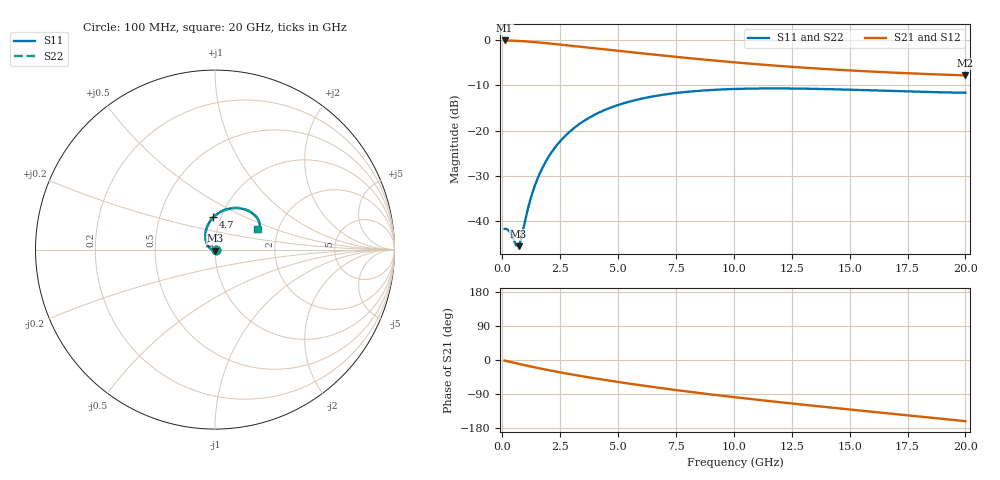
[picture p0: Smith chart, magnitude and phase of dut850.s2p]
! Touchstone file exported from HFSS 2024.1.0
!  File:  C:/UserFiles/LocalFiles/RDL_TSV_Batchsim/temp_RDL_TSV_850_1779922887.aedt
!  Generated:  07:18:47 AM May 28, 2026
!  Design:  RDL_TSV
!  Project:  temp_RDL_TSV_850_1779922887
!  Setup:  Setup1
!  Solution:  Sweep
! Variables:
!  dtsv = 7.11um
!  hbump = 3um
!  htsv = 90.55um
!  ldown = 244.33um
!  lrdl = 339.69um
!  p = 40
!  p1 = 55.11um
!  rhole = 10um
!  subl = 2091.75um
!  t = 450um
!  tdown = 3.31um
!  trdl = 4.93um
!  viad = 10um
!  wdown = 25.53um
!  wrdl = 28.84um
!  xbump = 18um
# GHz S MA R 50.000000
! Terminal data exported
! Port[1] = TM1_1_T1
! Port[2] = TM1_4_T1
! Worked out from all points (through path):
!   200 points, 100 MHz to 20 GHz, reference 50 ohm
!   highest |S21| = -0.08 dB at 100 MHz (marker M1); lowest = -7.8 dB at 20 GHz (marker M2)
!   group delay of S21, straight-line fit = 21.1 ps
!   lowest |S11| = -45.5 dB at 700 MHz (marker M3), VSWR 1.01, Z = 49.9 - j0.525 ohm
!   |S11| at or under -10 dB: start of sweep to end of sweep
!   |S22| runs from -45.5 to -10.6 dB; largest |S21 - S12| = 1.9e-14
!   S11 on the Smith chart (normalised r, x): 100 MHz: 1.02, -0.00; 4.7 GHz: 0.92, +0.34; 20 GHz: 1.56, +0.38
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0.1  0.008224 -4.2  0.9913 -1.5  0.9913 -1.5  0.008223 -4.2
! Gamma 0 0 0 0
! Port Impedance 50 0 50 0
0.3  0.00776 -20.2  0.9886 -4.4  0.9886 -4.4  0.007755 -20.3
0.6  0.005421 -68.9  0.9822 -8.6  0.9822 -8.6  0.005409 -69.1
0.7  0.005294 -96.7  0.9793 -10.0  0.9793 -10.0  0.00529 -97.0
0.8  0.006179 -124.4  0.9762 -11.4  0.9762 -11.4  0.00619 -124.8
1.1  0.01355 -170.6  0.9649 -15.5  0.9649 -15.5  0.01361 -170.8
1.3  0.02056 174.9  0.956 -18.1  0.956 -18.1  0.02065 174.8
1.5  0.02855 164.7  0.9464 -20.7  0.9464 -20.7  0.02867 164.6
1.8  0.04187 152.9  0.931 -24.4  0.931 -24.4  0.04204 152.9
2.1  0.05627 143.5  0.9147 -28.0  0.9147 -28.0  0.0565 143.5
2.5  0.0764 132.8  0.8926 -32.7  0.8926 -32.7  0.0767 132.8
3  0.1019 121.6  0.8648 -38.2  0.8648 -38.2  0.1023 121.6
3.5  0.1268 111.8  0.8377 -43.4  0.8377 -43.4  0.1273 111.9
4.7  0.1803 92.8  0.7763 -55.2  0.7763 -55.2  0.181 92.9
5.7  0.216 80.3  0.7291 -64.3  0.7291 -64.3  0.217 80.3
6.8  0.246 68.9  0.6814 -73.6  0.6814 -73.6  0.2471 69.0
8.4  0.2742 55.9  0.6203 -86.3  0.6203 -86.3  0.2755 55.9
10.1  0.2889 45.4  0.5661 -98.6  0.5661 -98.6  0.2903 45.4
11.7  0.2928 37.9  0.5246 -109.5  0.5246 -109.5  0.2942 38.0
13.4  0.2899 32.1  0.4891 -120.5  0.4891 -120.5  0.2914 32.2
16.7  0.2749 26.1  0.4398 -141.1  0.4398 -141.1  0.2764 26.2
20  0.2622 25.9  0.4076 -161.4  0.4076 -161.4  0.2637 26.0
